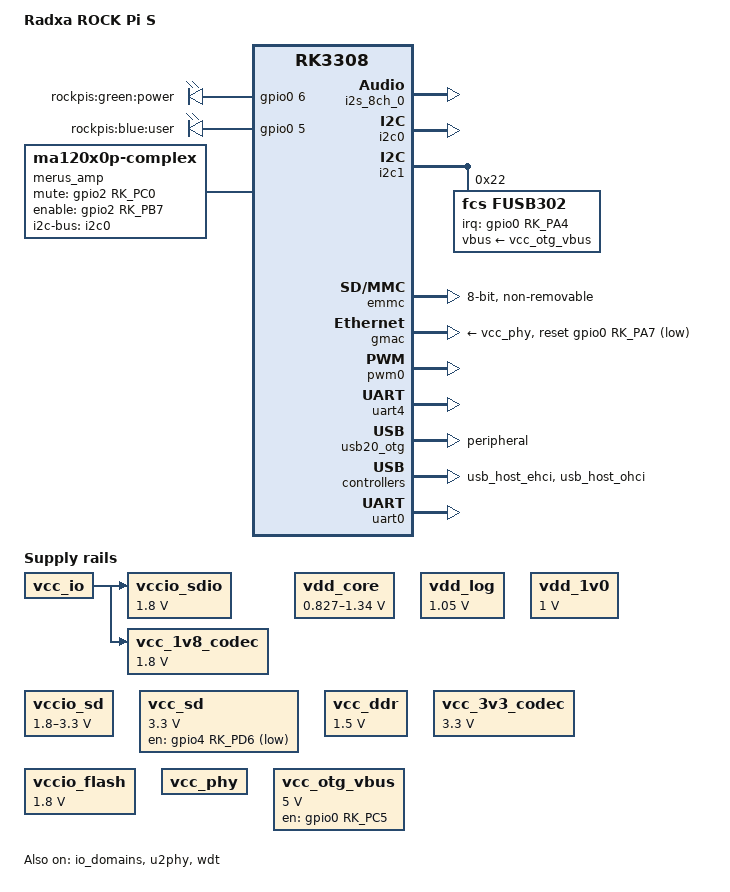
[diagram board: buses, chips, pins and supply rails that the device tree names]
// SPDX-License-Identifier: (GPL-2.0+ OR MIT)
/*
 * Copyright (c) 2018 Fuzhou Rockchip Electronics Co., Ltd
 */

/dts-v1/;

#include <dt-bindings/input/input.h>
#include <dt-bindings/usb/pd.h>
#include "rk3308.dtsi" 

/ {
	model = "Radxa ROCK Pi S";
	compatible = "radxa,rockpis-rk3308", "rockchip,rk3308";
	chosen {
		stdout-path = "serial0:1500000n8";
	};

	vdd_core: vdd-core {
		compatible = "pwm-regulator";
		pwms = <&pwm0 0 5000 1>;
		regulator-name = "vdd_core";
		regulator-min-microvolt = <827000>;
		regulator-max-microvolt = <1340000>;
		regulator-init-microvolt = <1015000>;
		regulator-always-on;
		regulator-boot-on;
		regulator-settling-time-up-us = <250>;
		status = "okay";
	};

	vdd_log: vdd-log {
		compatible = "regulator-fixed";
		regulator-name = "vdd_log";
		regulator-always-on;
		regulator-boot-on;
		regulator-min-microvolt = <1050000>;
		regulator-max-microvolt = <1050000>;
	};

	vdd_1v0: vdd-1v0 {
		compatible = "regulator-fixed";
		regulator-name = "vdd_1v0";
		regulator-always-on;
		regulator-boot-on;
		regulator-min-microvolt = <1000000>;
		regulator-max-microvolt = <1000000>;
	};

	vccio_sdio: vcc_1v8: vcc-1v8 {
		compatible = "regulator-fixed";
		regulator-name = "vcc_1v8";
		regulator-always-on;
		regulator-boot-on;
		regulator-min-microvolt = <1800000>;
		regulator-max-microvolt = <1800000>;
		vin-supply = <&vcc_io>;
	};

	vccio_sd: vccio-sd {
		compatible = "regulator-gpio";
		regulator-name = "vccio_sd";
		regulator-min-microvolt = <1800000>;
		regulator-max-microvolt = <3300000>;
		states = <1800000 0x0
			  3300000 0x1>;
	};

	vcc_sd: vcc-sd {
		compatible = "regulator-fixed";
		gpio = <&gpio4 RK_PD6 GPIO_ACTIVE_LOW>;
		regulator-name = "vcc_sd";
		regulator-min-microvolt = <3300000>;
		regulator-max-microvolt = <3300000>;
	};

	vcc_1v8_codec: vcc-1v8-codec {
		compatible = "regulator-fixed";
		regulator-name = "vcc_1v8_codec";
		regulator-always-on;
		regulator-boot-on;
		regulator-min-microvolt = <1800000>;
		regulator-max-microvolt = <1800000>;
		vin-supply = <&vcc_io>;
	};

	vcc_ddr: vcc-ddr {
		compatible = "regulator-fixed";
		regulator-name = "vcc_ddr";
		regulator-always-on;
		regulator-boot-on;
		regulator-min-microvolt = <1500000>;
		regulator-max-microvolt = <1500000>;
	};

	vcc_3v3_codec: vcc_io: vcc-io {
		compatible = "regulator-fixed";
		regulator-name = "vcc_io";
		regulator-always-on;
		regulator-boot-on;
		regulator-min-microvolt = <3300000>;
		regulator-max-microvolt = <3300000>;
	};

	vccio_flash: vccio-flash {
		compatible = "regulator-fixed";
		regulator-name = "vccio_flash";
		regulator-always-on;
		regulator-boot-on;
		regulator-min-microvolt = <1800000>;
		regulator-max-microvolt = <1800000>;
	};

	vcc_phy: vcc-phy-regulator {
		compatible = "regulator-fixed";
		regulator-name = "vcc_phy";
		regulator-always-on;
		regulator-boot-on;
	};

	vcc_otg_vbus: otg-vbus-regulator {
		compatible = "regulator-fixed";
		enable-active-high;
		gpio = <&gpio0 RK_PC5 GPIO_ACTIVE_HIGH>;
		pinctrl-names = "default";
		pinctrl-0 = <&otg_vbus_drv>;
		regulator-name = "vcc_otg_vbus";
		regulator-min-microvolt = <5000000>;
		regulator-max-microvolt = <5000000>;
		regulator-boot-on;
	};

	gpio-leds {
		compatible = "gpio-leds";
		status = "okay";

		green-led {
			label = "rockpis:green:power";
			gpios = <&gpio0 6 GPIO_ACTIVE_HIGH>;
			linux,default-trigger = "default-on";
			default-state = "on";
		};

		blue-led {
			label = "rockpis:blue:user";
			gpios = <&gpio0 5 GPIO_ACTIVE_HIGH>;
			linux,default-trigger = "heartbeat";
			default-state = "on";
		};
	};

	sound {
		compatible = "complex-audio-card";
		complex-audio-card,name = "Test123";

		complex-audio-card,dai-link@0 {		/* I2S - HDMI */
			format = "i2s";
			cpu {
				sound-dai = <&i2s_8ch_0 0>;
			};
			codec {
				sound-dai = <&merus_amp>;
			};
		};
	};

	merus_amp: merus_amp {
		#sound-dai-cells = <0>;
		compatible = "ma120x0p-complex";
		pinctrl-names = "default";
		pinctrl-0 = <&amp_pin_ctrl>;
		mute-gpios = <&gpio2 RK_PC0 GPIO_ACTIVE_HIGH>;
		enable-gpios = <&gpio2 RK_PB7 GPIO_ACTIVE_HIGH>;
		i2c-bus = <&i2c0>;
		ma120x0p,default-pmp = <2>;
	};
	
	i2s_clk: fixed-24576 {
		compatible = "fixed-clock";
		#clock-cells = <0>;
		clock-frequency = <24576000>;
		clock-accuracy = <20000>;
		clock-output-names = "mclk_i2s0_8ch_in";
	};
};

&pinctrl {
	fusb302 {
		fusb302_int_pin: fusb302-int {
			rockchip,pins =
				<0 RK_PA4 0 &pcfg_pull_none_8ma>;
		};
	};
	amps {
		amp_pin_ctrl: amp-ctrl {
			rockchip,pins =
				<2 RK_PB7 0 &pcfg_pull_none_8ma>,
				<2 RK_PC0 0 &pcfg_pull_none_8ma>;
		};
	};
};

&i2s_8ch_0 {
	#sound-dai-cells = <1>;
	pinctrl-names = "default";
	pinctrl-0 = <&i2s_8ch_0_sclktx
				&i2s_8ch_0_lrcktx
				&i2s_8ch_0_sdo0
				&i2s_8ch_0_sdo1
				&i2s_8ch_0_sdo2
				&i2s_8ch_0_mclk
				&i2s_8ch_0_sdo3>;

	rockchip,mclk-input;
	clocks = <&cru SCLK_I2S0_8CH_TX>, <&cru SCLK_I2S0_8CH_RX>, <&cru HCLK_I2S0_8CH>;
	clock-names = "mclk_tx", "mclk_rx", "hclk";
	/delete-property/ rockchip,mclk-calibrate;

	assigned-clocks = <&cru SCLK_I2S0_8CH_TX_MUX>;
	assigned-clock-parents = <&i2s_clk>;

	status = "okay";
};

&i2c0 {
	status = "okay";
};

&i2c1 {
	status = "okay";
	fusb302: typec-portc@54 {
		compatible = "fcs,fusb302";
		reg = <0x22>;
		interrupt-parent = <&gpio0>;
		interrupts = <RK_PA4 IRQ_TYPE_LEVEL_LOW>;
		pinctrl-names = "default";
		pinctrl-0 = <&fusb302_int_pin>;
		vbus-supply = <&vcc_otg_vbus>;

		usb_con: connector {
			compatible = "usb-c-connector";
			label = "USB-C";
			power-role = "dual";
			data-role = "device";
			try-power-role = "source";
			source-pdos = <PDO_FIXED(5000, 1500, PDO_FIXED_USB_COMM)>;
			sink-pdos = <PDO_FIXED(5000, 3000, PDO_FIXED_USB_COMM)>;
			self-powered;
			op-sink-microwatt = <1000000>;
		};
	};
};

&cpu0 {
	cpu-supply = <&vdd_core>;
};

&emmc {
	bus-width = <8>;
	cap-mmc-highspeed;
	mmc-hs200-1_8v;
	supports-emmc;
	disable-wp;
	non-removable;
	num-slots = <1>;
	status = "okay";
};

/*
&sdmmc {
	max-frequency = <150000000>;
	supports-sd;
	bus-width = <4>;
	cap-mmc-highspeed;
	cap-sd-highspeed;
	disable-wp;
	num-slots = <1>;
	vmmc-supply = <&vcc_sd>;
	vqmmc-supply = <&vccio_sd>;
	pinctrl-names = "default";
	pinctrl-0 = <&sdmmc_clk &sdmmc_cmd &sdmmc_det &sdmmc_bus4>;
	ard-detect-delay = <800>;
	status = "okay";
};
*/

&gmac {
	phy-supply = <&vcc_phy>;
	clock_in_out = "output";
	assigned-clocks = <&cru SCLK_MAC>;
	assigned-clock-parents = <&cru SCLK_MAC_SRC>;
	snps,reset-gpio = <&gpio0 RK_PA7 GPIO_ACTIVE_LOW>;
	snps,reset-active-low;
	snps,reset-delays-us = <0 50000 50000>;
	status = "okay";
};

&io_domains {
	status = "okay";

	vccio0-supply = <&vcc_io>;
	vccio1-supply = <&vcc_io>;
	vccio2-supply = <&vcc_1v8>;
	vccio3-supply = <&vccio_flash>;
	vccio4-supply = <&vccio_sdio>;
	vccio5-supply = <&vcc_io>;
};

&pinctrl {
	pinctrl-names = "default";
	pinctrl-0 = <&rtc_32k>;

	usb {
		otg_vbus_drv: otg-vbus-drv {
			rockchip,pins = <0 RK_PC5 RK_FUNC_GPIO &pcfg_pull_none>;
		};
	};

};

&pwm0 {
	status = "okay";
	pinctrl-names = "active";
	pinctrl-0 = <&pwm0_pin_pull_down>;
};

/*
&sdio {
	max-frequency = <110000000>;
	bus-width = <4>;
	cap-sd-highspeed;
	supports-sdio;
	ignore-pm-notify;
	keep-power-in-suspend;
	non-removable;
	sd-uhs-sdr104;
	status = "okay";
};
*/

/*
&tsadc {
	rockchip,hw-tshut-mode = <0>;		
	rockchip,hw-tshut-polarity = <1>;	
	status = "okay";
};
*/

&u2phy {
	status = "okay";

	u2phy_host: host-port {
		status = "okay";
	};

	u2phy_otg: otg-port {
		status = "okay";
	};
};

&uart4 {
	pinctrl-names = "default";
	pinctrl-0 = <&uart4_xfer &uart4_cts>;
	status = "okay";
};

&usb20_otg {
	dr_mode = "peripheral";
	status = "okay";
};

&usb_host_ehci {
	status = "okay";
};

&usb_host_ohci{
	status = "okay";
};

/*
&thermal_zones {
	soc_thermal {
		thermal-sensors = <&tsadc 0>;
	};
};
*/

&uart0 {
        status = "okay";
        pinctrl-names = "default";
        pinctrl-0 = <&uart0_xfer>;
};

&wdt {
        status = "okay";
};

